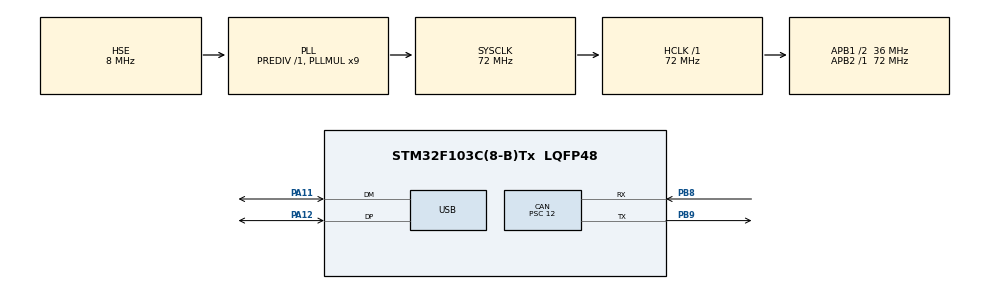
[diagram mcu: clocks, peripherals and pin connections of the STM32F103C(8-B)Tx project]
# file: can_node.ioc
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CAN.CalculateTimeBit=1000
CAN.CalculateTimeQuantum=333.33333333333337
CAN.Prescaler=12
Mcu.Family=STM32F1
Mcu.Name=STM32F103C(8-B)Tx
Mcu.Package=LQFP48
NVIC.PriorityGroup=NVIC_PRIORITYGROUP_4
NVIC.USB_LP_CAN1_RX0_IRQn=true\:0\:0\:false\:false\:true\:false
PA11.Mode=Device
PA11.Signal=USB_DM
PA12.Mode=Device
PA12.Signal=USB_DP
PA13.Mode=Serial_Wire
PA13.Signal=SYS_JTMS-SWDIO
PA14.Mode=Serial_Wire
PA14.Signal=SYS_JTCK-SWCLK
PB8.Mode=Master
PB8.Signal=CAN_RX
PB9.Mode=Master
PB9.Signal=CAN_TX
PD0-OSC_IN.Mode=HSE-External-Oscillator
PD0-OSC_IN.Signal=RCC_OSC_IN
PD1-OSC_OUT.Mode=HSE-External-Oscillator
PD1-OSC_OUT.Signal=RCC_OSC_OUT
ProjectManager.HeapSize=0x200
ProjectManager.StackSize=0x400
ProjectManager.TargetToolchain=SW4STM32
RCC.AHBFreq_Value=72000000
RCC.APB1CLKDivider=RCC_HCLK_DIV2
RCC.APB1Freq_Value=36000000
RCC.APB1TimFreq_Value=72000000
RCC.APB2Freq_Value=72000000
RCC.APB2TimFreq_Value=72000000
RCC.HCLKFreq_Value=72000000
RCC.PLLMUL=RCC_PLL_MUL9
RCC.SYSCLKFreq_VALUE=72000000
RCC.SYSCLKSource=RCC_SYSCLKSOURCE_PLLCLK
RCC.USBFreq_Value=48000000
RCC.USBPrescaler=RCC_USBCLKSOURCE_PLL_DIV1_5
USB_DEVICE.CLASS_NAME_FS=CDC
USB_DEVICE.VirtualMode=Cdc
USB_DEVICE.VirtualModeFS=Cdc_FS
VP_USB_DEVICE_VS_USB_DEVICE_CDC_FS.Mode=CDC_FS
board=can_node

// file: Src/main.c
/**
  ******************************************************************************
  * @file           : main.c
  * @brief          : Main program body
  ******************************************************************************
  * This notice applies to any and all portions of this file
  * that are not between comment pairs USER CODE BEGIN and
  * USER CODE END. Other portions of this file, whether
  * inserted by the user or by software development tools
  * are owned by their respective copyright owners.
  *
  * Copyright (c) 2018 STMicroelectronics International N.V.
  * All rights reserved.
  *
  * Redistribution and use in source and binary forms, with or without
  * modification, are permitted, provided that the following conditions are met:
  *
  * 1. Redistribution of source code must retain the above copyright notice,
  *    this list of conditions and the following disclaimer.
  * 2. Redistributions in binary form must reproduce the above copyright notice,
  *    this list of conditions and the following disclaimer in the documentation
  *    and/or other materials provided with the distribution.
  * 3. Neither the name of STMicroelectronics nor the names of other
  *    contributors to this software may be used to endorse or promote products
  *    derived from this software without specific written permission.
  * 4. This software, including modifications and/or derivative works of this
  *    software, must execute solely and exclusively on microcontroller or
  *    microprocessor devices manufactured by or for STMicroelectronics.
  * 5. Redistribution and use of this software other than as permitted under
  *    this license is void and will automatically terminate your rights under
  *    this license.
  *
  * THIS SOFTWARE IS PROVIDED BY STMICROELECTRONICS AND CONTRIBUTORS "AS IS"
  * AND ANY EXPRESS, IMPLIED OR STATUTORY WARRANTIES, INCLUDING, BUT NOT
  * LIMITED TO, THE IMPLIED WARRANTIES OF MERCHANTABILITY, FITNESS FOR A
  * PARTICULAR PURPOSE AND NON-INFRINGEMENT OF THIRD PARTY INTELLECTUAL PROPERTY
  * RIGHTS ARE DISCLAIMED TO THE FULLEST EXTENT PERMITTED BY LAW. IN NO EVENT
  * SHALL STMICROELECTRONICS OR CONTRIBUTORS BE LIABLE FOR ANY DIRECT, INDIRECT,
  * INCIDENTAL, SPECIAL, EXEMPLARY, OR CONSEQUENTIAL DAMAGES (INCLUDING, BUT NOT
  * LIMITED TO, PROCUREMENT OF SUBSTITUTE GOODS OR SERVICES; LOSS OF USE, DATA,
  * OR PROFITS; OR BUSINESS INTERRUPTION) HOWEVER CAUSED AND ON ANY THEORY OF
  * LIABILITY, WHETHER IN CONTRACT, STRICT LIABILITY, OR TORT (INCLUDING
  * NEGLIGENCE OR OTHERWISE) ARISING IN ANY WAY OUT OF THE USE OF THIS SOFTWARE,
  * EVEN IF ADVISED OF THE POSSIBILITY OF SUCH DAMAGE.
  *
  ******************************************************************************
  */
#include "main.h"
#include "stm32f1xx_hal.h"
#include "usb_device.h"

CAN_HandleTypeDef hcan;

/* USER CODE BEGIN PV */
/* Private variables ---------------------------------------------------------*/

/* USER CODE END PV */

void SystemClock_Config(void);
static void MX_GPIO_Init(void);
static void MX_CAN_Init(void);

/* USER CODE BEGIN PFP */
/* Private function prototypes -----------------------------------------------*/

/* USER CODE END PFP */

int main(void)
{

  /* MCU Configuration----------------------------------------------------------*/

  /* Reset of all peripherals, Initializes the Flash interface and the Systick. */
  HAL_Init();

  /* Configure the system clock */
  SystemClock_Config();

  /* Initialize all configured peripherals */
  MX_GPIO_Init();
//  MX_USB_DEVICE_Init();
  MX_CAN_Init();

  /* Infinite loop */
  /* USER CODE BEGIN WHILE */
 // char data[] = "HELLO WORLD";
 // CDC_Transmit_FS(data,strlen(data));

  //send can bus massage

  CanTxMsgTypeDef canTXbuff;

canTXbuff.DLC = 8;
canTXbuff.IDE = CAN_ID_STD;
canTXbuff.RTR = CAN_RTR_DATA;
canTXbuff.StdId = 0x400;

canTXbuff.Data[0] = 'E';
canTXbuff.Data[1] = 'L';
canTXbuff.Data[2] = 'I';
canTXbuff.Data[3] = 'K';
canTXbuff.Data[4] = 'B';
canTXbuff.Data[5] = 'E';
canTXbuff.Data[6] = 'L';
canTXbuff.Data[7] = 'I';

hcan.pTxMsg = &canTXbuff;
if(HAL_CAN_Transmit(&hcan,1000) != HAL_OK)
	_Error_Handler(__FILE__, __LINE__);

  while (1)
  {

  /* USER CODE END WHILE */

  }

}

void SystemClock_Config(void)
{

  RCC_OscInitTypeDef RCC_OscInitStruct;
  RCC_ClkInitTypeDef RCC_ClkInitStruct;
  RCC_PeriphCLKInitTypeDef PeriphClkInit;

    /**Initializes the CPU, AHB and APB busses clocks
    */
  RCC_OscInitStruct.OscillatorType = RCC_OSCILLATORTYPE_HSE;
  RCC_OscInitStruct.HSEState = RCC_HSE_ON;
  RCC_OscInitStruct.HSEPredivValue = RCC_HSE_PREDIV_DIV1;
  RCC_OscInitStruct.HSIState = RCC_HSI_ON;
  RCC_OscInitStruct.PLL.PLLState = RCC_PLL_ON;
  RCC_OscInitStruct.PLL.PLLSource = RCC_PLLSOURCE_HSE;
  RCC_OscInitStruct.PLL.PLLMUL = RCC_PLL_MUL9;
  if (HAL_RCC_OscConfig(&RCC_OscInitStruct) != HAL_OK)
  {
    _Error_Handler(__FILE__, __LINE__);
  }

    /**Initializes the CPU, AHB and APB busses clocks
    */
  RCC_ClkInitStruct.ClockType = RCC_CLOCKTYPE_HCLK|RCC_CLOCKTYPE_SYSCLK
                              |RCC_CLOCKTYPE_PCLK1|RCC_CLOCKTYPE_PCLK2;
  RCC_ClkInitStruct.SYSCLKSource = RCC_SYSCLKSOURCE_PLLCLK;
  RCC_ClkInitStruct.AHBCLKDivider = RCC_SYSCLK_DIV1;
  RCC_ClkInitStruct.APB1CLKDivider = RCC_HCLK_DIV2;
  RCC_ClkInitStruct.APB2CLKDivider = RCC_HCLK_DIV1;

  if (HAL_RCC_ClockConfig(&RCC_ClkInitStruct, FLASH_LATENCY_2) != HAL_OK)
  {
    _Error_Handler(__FILE__, __LINE__);
  }

  PeriphClkInit.PeriphClockSelection = RCC_PERIPHCLK_USB;
  PeriphClkInit.UsbClockSelection = RCC_USBCLKSOURCE_PLL_DIV1_5;
  if (HAL_RCCEx_PeriphCLKConfig(&PeriphClkInit) != HAL_OK)
  {
    _Error_Handler(__FILE__, __LINE__);
  }

    /**Configure the Systick interrupt time
    */
  HAL_SYSTICK_Config(HAL_RCC_GetHCLKFreq()/1000);

    /**Configure the Systick
    */
  HAL_SYSTICK_CLKSourceConfig(SYSTICK_CLKSOURCE_HCLK);

  /* SysTick_IRQn interrupt configuration */
  HAL_NVIC_SetPriority(SysTick_IRQn, 0, 0);
}

/* CAN init function */
static void MX_CAN_Init(void)
{

  hcan.Instance = CAN1;
  hcan.Init.Prescaler = 12;
  hcan.Init.Mode = CAN_MODE_NORMAL;
  hcan.Init.SJW = CAN_SJW_1TQ;
  hcan.Init.BS1 = CAN_BS1_1TQ;
  hcan.Init.BS2 = CAN_BS2_1TQ;
  hcan.Init.TTCM = DISABLE;
  hcan.Init.ABOM = DISABLE;
  hcan.Init.AWUM = DISABLE;
  hcan.Init.NART = DISABLE;
  hcan.Init.RFLM = DISABLE;
  hcan.Init.TXFP = DISABLE;
  if (HAL_CAN_Init(&hcan) != HAL_OK)
  {
    _Error_Handler(__FILE__, __LINE__);
  }

}

/** Configure pins as
        * Analog
        * Input
        * Output
        * EVENT_OUT
        * EXTI
*/
static void MX_GPIO_Init(void)
{

  /* GPIO Ports Clock Enable */
  __HAL_RCC_GPIOD_CLK_ENABLE();
  __HAL_RCC_GPIOA_CLK_ENABLE();
  __HAL_RCC_GPIOB_CLK_ENABLE();

}

void _Error_Handler(char *file, int line)
{
  while(1)
  {
  }
}

/************************ (C) COPYRIGHT STMicroelectronics *****END OF FILE****/
